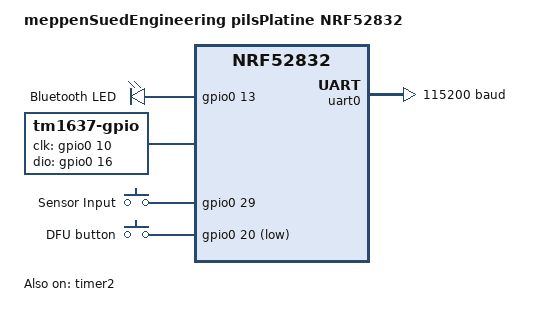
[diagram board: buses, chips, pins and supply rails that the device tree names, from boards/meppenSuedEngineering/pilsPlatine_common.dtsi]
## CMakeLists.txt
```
# SPDX-License-Identifier: Apache-2.0

cmake_minimum_required(VERSION 3.20.0)
set(BOARD_ROOT ${CMAKE_HOME_DIRECTORY})

find_package(Zephyr REQUIRED HINTS $ENV{ZEPHYR_BASE})
project(camel)

target_include_directories(app PRIVATE include)
target_sources(app PRIVATE src/main.c src/tm1637.c src/fsm_core.c src/runtime.c src/state_machine.c src/bluetooth.c src/memory.c src/inputs.c src/bluetooth_advertising.c)
```

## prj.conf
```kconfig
CONFIG_SIZE_OPTIMIZATIONS=y
CONFIG_GPIO=y
CONFIG_BOOTLOADER_MCUBOOT=y
CONFIG_MCUBOOT_BOOTLOADER_MODE_SWAP_SCRATCH=y

# Print a banner on the UART on startup.
#CONFIG_BOOT_BANNER=y

# Enable console and printk()
CONFIG_PRINTK=y
CONFIG_STDOUT_CONSOLE=y
CONFIG_SERIAL=y
CONFIG_UART_CONSOLE=y
CONFIG_CONSOLE=y
#CONFIG_MCUBOOT_GENERATE_UNSIGNED_IMAGE=y
CONFIG_MAIN_THREAD_PRIORITY=15
CONFIG_MAIN_STACK_SIZE=2048

CONFIG_NRFX_GPPI=y

#Enable timer
CONFIG_NRFX_GPIOTE_NUM_OF_EVT_HANDLERS=2
CONFIG_NRFX_TIMER=y

CONFIG_BT=y
CONFIG_BT_HCI=y
CONFIG_BT_PERIPHERAL=y
CONFIG_BT_ATT_PREPARE_COUNT=2
CONFIG_BT_DEVICE_NAME="BIERORGLER"
CONFIG_BT_DEVICE_APPEARANCE=833
CONFIG_BT_DEVICE_NAME_DYNAMIC=y
CONFIG_BT_DEVICE_NAME_MAX=65
CONFIG_BT_BUF_ACL_RX_SIZE=251
CONFIG_BT_BUF_ACL_TX_SIZE=502
CONFIG_BT_SMP=n
CONFIG_SOC_FLASH_NRF_RADIO_SYNC_NONE=n

# L2CAP SDU/PDU TX MTU
CONFIG_BT_L2CAP_TX_MTU=247

CONFIG_BT_SETTINGS=y
CONFIG_FLASH=y
CONFIG_FLASH_MAP=y
CONFIG_NVS=y
CONFIG_SETTINGS=y
CONFIG_LOG=y
CONFIG_MPU_ALLOW_FLASH_WRITE=y
CONFIG_NVS=y
CONFIG_NVS_LOG_LEVEL_DBG=y
CONFIG_BT_PRIVACY=n

CONFIG_THREAD_MONITOR=n

# FOTA RELATED
CONFIG_ZCBOR=y
CONFIG_IMG_MANAGER=y
CONFIG_STREAM_FLASH=y

CONFIG_MCUMGR=y
CONFIG_MCUMGR_GRP_IMG=y
CONFIG_MCUMGR_GRP_OS=y
CONFIG_MCUMGR_TRANSPORT_BT=y
CONFIG_MCUMGR_TRANSPORT_BT_CONN_PARAM_CONTROL=y

CONFIG_MCUMGR_TRANSPORT_BT_REASSEMBLY=y
CONFIG_MCUMGR_TRANSPORT_NETBUF_SIZE=384
CONFIG_MCUMGR_GRP_OS_MCUMGR_PARAMS=y
CONFIG_MCUMGR_TRANSPORT_WORKQUEUE_STACK_SIZE=4608
CONFIG_MCUMGR_TRANSPORT_BT_PERM_RW=y

# Enable logging
CONFIG_MCUBOOT_UTIL_LOG_LEVEL_WRN=y
CONFIG_MCUMGR_LOG_LEVEL_DBG=y
CONFIG_MCUMGR_GRP_IMG_LOG_LEVEL_DBG=y
CONFIG_MCUMGR_GRP_IMG_VERBOSE_ERR=y
CONFIG_IMG_MANAGER_LOG_LEVEL_DBG=y

#Device Information
CONFIG_BT_DIS=y
CONFIG_BT_DIS_PNP=n
CONFIG_BT_DIS_MANUF_NAME=y
CONFIG_BT_DIS_HW_REV=y
CONFIG_BT_DIS_SW_REV=y
CONFIG_BT_DIS_MODEL_NUMBER_STR="BIERORGLER"
CONFIG_BT_DIS_MANUF_NAME_STR="MeppenSuedEngineering"
CONFIG_BT_DIS_HW_REV_STR="1.0"
CONFIG_BT_DIS_SW_REV_STR="1.0.9"
CONFIG_BT_SETTINGS_CCC_STORE_ON_WRITE=n
CONFIG_SYSTEM_WORKQUEUE_STACK_SIZE=4096
CONFIG_MAIN_STACK_SIZE=4096
CONFIG_MCUBOOT_GENERATE_UNSIGNED_IMAGE=y
```

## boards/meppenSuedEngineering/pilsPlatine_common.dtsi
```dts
/* pilsplatine_common.dtsi */
#include <nordic/nrf52832_qfaa.dtsi>
#include "pilsPlatine_nrf52832-pinctrl.dtsi"
#include <zephyr/dt-bindings/input/input-event-codes.h>

/ {
    model = "meppenSuedEngineering pilsPlatine NRF52832";
    compatible = "meppenSuedEngineering,pilsPlatine-nrf52832";

    chosen {
        zephyr,console = &uart0;
        zephyr,sram = &sram0;
        zephyr,flash = &flash0;
        zephyr,code-partition = &slot0_partition;
        zephyr,settings-partition = &storage_partition_ble;
    };

    leds {
        compatible = "gpio-leds";
        led0: led_0 {
            gpios = <&gpio0 13 GPIO_ACTIVE_HIGH>;
            label = "Bluetooth LED";
        };
    };

    tm1637: tm1637 {
        compatible = "tm1637-gpio";
        clk-gpios = <&gpio0 10 GPIO_ACTIVE_HIGH>;
        dio-gpios = <&gpio0 16 GPIO_ACTIVE_HIGH>;
    };

    /* Common buttons present on ALL variants */
    buttons {
        compatible = "gpio-keys";
        debounce-interval-ms = <1>;
        
        sensor_btn: button_sensor {
            gpios = <&gpio0 29 (GPIO_ACTIVE_HIGH)>;
            label = "Sensor Input";
        };
        
        dfu_btn: button_dfu {
            label = "DFU button";
            gpios = <&gpio0 20 (GPIO_ACTIVE_LOW | GPIO_PULL_UP)>;
        };
    };

    aliases {
        led0 = &led0;
        buttontest = &sensor_btn;
        mcuboot-button0 = &dfu_btn;
        hw-timer = &timer2;
    };
};

/* Hardware Configs */
&uicr { gpio-as-nreset; nfct-pins-as-gpios; };
&gpiote { status = "okay"; };
&gpio0 { status = "okay"; };

&timer2 {
    status = "okay";
    max-bit-width = <32>;
    prescaler = <7>;
    counter { status = "okay"; };
};

&uart0 {
    status = "okay";
    compatible = "nordic,nrf-uarte";
    current-speed = <115200>;
    pinctrl-0 = <&uart0_default>;
    pinctrl-1 = <&uart0_sleep>;
    pinctrl-names = "default", "sleep";
};

&flash0 {
    partitions {
        compatible = "fixed-partitions";
        #address-cells = <1>;
        #size-cells = <1>;

        boot_partition: partition@0 { label = "mcuboot"; reg = <0x00000000 0xc000>; };
        slot0_partition: partition@c000 { label = "image-0"; reg = <0x0000C000 0x32000>; };
        slot1_partition: partition@3e000 { label = "image-1"; reg = <0x0003E000 0x32000>; };
        scratch_partition: partition@70000 { label = "image-scratch"; reg = <0x00070000 0xa000>; };
        
        storage_partition_ble: partition@7a000 {
            label = "storage_ble";
            reg = <0x0007a000 0x00003000>;
        };
        storage_partition_app: partition@7d000 {
            label = "storage_app";
            reg = <0x0007d000 0x00003000>;
        };
    };
};
```

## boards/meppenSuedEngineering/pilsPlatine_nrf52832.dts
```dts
/* pilsplatine_nrf52832.dts */
/dts-v1/;
#include "pilsplatine_common.dtsi"

/ {
    /* Add the extra buttons to the existing container */
    buttons {
        pairing_btn: button_pairing {
            gpios = <&gpio0 14 (GPIO_PULL_UP | GPIO_ACTIVE_LOW)>;
            label = "Bluetooth Pairing Button";
        };
        ready_btn: button_ready {
            gpios = <&gpio0 15 (GPIO_ACTIVE_LOW)>;
            label = "Ready Status Button";
        };
    };

    aliases {
        buttonpairing = &pairing_btn;
        buttonrdy = &ready_btn;
    };
};
```

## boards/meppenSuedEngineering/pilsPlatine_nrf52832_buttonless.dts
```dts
/* pilsplatine_nrf52832_buttonless.dts */
/dts-v1/;
#include "pilsplatine_common.dtsi"


/ {
    /* override / delete buttons here */
};
```

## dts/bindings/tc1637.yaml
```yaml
description: GPIO pins to use with a TC1637 7-seg display driver

compatible: "tm1637-gpio"

properties:
  clk-gpios:
    type: phandle-array
    required: true
    description: |
      The GPIO connected to the CLK Pin of the TC1637 driver

  dio-gpios:
    type: phandle-array
    required: true
    description: |
      The GPIO connected to the DIO Pin of the TC1637 driver 
```

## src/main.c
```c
/*
 * Copyright (c) 2016 Open-RnD Sp. z o.o.
 * Copyright (c) 2020 Nordic Semiconductor ASA
 *
 * SPDX-License-Identifier: Apache-2.0
 *
 * NOTE: If you are looking into an implementation of button events with
 * debouncing, check out `input` subsystem and `samples/subsys/input/input_dump`
 * example instead.
 */

#include <zephyr/kernel.h>
#include <zephyr/device.h>
#include <zephyr/drivers/gpio.h>
#include <zephyr/sys/util.h>
#include <zephyr/sys/printk.h>
#include <zephyr/debug/object_tracing.h>
#include <inttypes.h>
#include "state_machine.h"
#include "tm1637.h"
#include "runtime.h"
#include "devicetree_devices.h"
#include "fsm_core.h"
#include "bluetooth.h"
#include "memory.h"

// void print_thread_priorities(void)
// {
//     struct k_thread *thread_list = NULL;
//     struct k_thread *thread;
    
//     /* Get the list of all threads */
//     thread_list = SYS_THREAD_MONITOR_HEAD;
    
//     printk("Active Threads and Priorities:\n");
//     printk("------------------------------\n");
    
//     while ((thread = thread_list) != NULL) {
//         printk("Thread %p, name: %s, priority: %d\n",
//                thread,
//                k_thread_name_get(thread),
//                k_thread_priority_get(thread));
               
//         thread_list = SYS_THREAD_MONITOR_NEXT(thread_list);
//     }
//     printk("------------------------------\n");
// }

int main(void)
{
	init_seven_seg();
	init_gpio_inputs();
	init_gpio_outputs();
    init_memory_nv();
	init_ble(TIMER_TICK_DURATION_US);
    /*register callbacks and handlers*/
    ble_register_state_input_handler(ble_remote_state_dispatch);
	calib_attempt_register_notifier(ble_calibration_attempt_notifier);
    state_machine_register_notifier(ble_state_notifier);

	bluetooth_advertising_fsm_start();
	fsm_start();
    on_trichter_startup();

	while (1) {
    k_sleep(K_FOREVER);
	}
	return 0;
}
```

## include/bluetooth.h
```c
#ifndef TRICHTER_BLUETOOTH_H
#define TRICHTER_BLUETOOTH_H
#include <stdbool.h>
#include <stdint.h>
#include "state_machine.h"


int init_ble(uint8_t timer_tick_duration);

int ble_send_start();
bool is_ble_connected();
int ble_send_chunk();
int ble_prepare_send(uint32_t *data_buffer, const uint32_t num_elements);
bool ble_is_sending();
void delete_all_connections();

typedef enum RemoteState {
    REMOTE_STATE_CMD_IDLE,
    REMOTE_STATE_CMD_READY,
    REMOTE_STATE_CMD_CALIB,
    REMOTE_STATE_CMD_MAX
} RemoteState;

typedef void (*RemoteStateInputHandler)(RemoteState);
void ble_register_state_input_handler(RemoteStateInputHandler handler);
void ble_state_notifier(StateID_t state);
void ble_calibration_attempt_notifier(bool success);

#endif //TRICHTER_BLUETOOTH_H
```

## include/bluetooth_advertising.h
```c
#ifndef BLUETOOTH_ADVERTISING_H
#define BLUETOOTH_ADVERTISING_H

#include <stdint.h>
#include "state_machine.h"

typedef enum {
    BLE_ADV_OFF = 0,
    BLE_ADV_FAST,
    BLE_ADV_SLOW,
    BLE_ADV_STATE_MAX
} ble_adv_state_t;

/*PUBLIC API*/

void bluetooth_advertising_fsm_start(void);

void bluetooth_advertising_start_fast(void);
void bluetooth_advertising_start_slow(void);
void bluetooth_advertising_stop(void);

bool bluetooth_advertising_is_active(void);

#endif /* BLUETOOTH_ADVERTISING_H */
```

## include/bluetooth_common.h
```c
#ifndef BLUETOOTH_COMMON_H
#define BLUETOOTH_COMMON_H

#include <zephyr/bluetooth/uuid.h>

#define BT_UUID_CUSTOM_SERVICE_VAL BT_UUID_128_ENCODE(0xaf56d6dd, 0x3c39, 0x4d67, 0x9bbe, 0x4fb04fa327cc)

#define BT_UUID_ARRAY_CHARACTERISTIC_VAL BT_UUID_128_ENCODE( 0xf9d76937, 0xbd70, 0x4e4f, 0xa4da, 0x0b718d5f5b6d)

#define BT_UUID_CALIB_CHAR_VAL BT_UUID_128_ENCODE(0x23de2cad, 0x0fc8, 0x49f4, 0xbbcc, 0x5eb2c9fdb91b)

#define BT_UUID_REMOTE_STATE_CHAR_VAL BT_UUID_128_ENCODE(0x9b6d1c3a, 0x91a2, 0x4f23, 0x8c11, 0x1a2b3c4d5e6f)


#endif /* BLUETOOTH_COMMON_H */
```

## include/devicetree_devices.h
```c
#ifndef ZEPHYR_DEVICETREE_DEVICES_H_
#define ZEPHYR_DEVICETREE_DEVICES_H_

#include <zephyr/device.h>
#include <zephyr/drivers/gpio.h>
#include <nrfx_gpiote.h>
#include <helpers/nrfx_gppi.h>
#include <hal/nrf_gpiote.h>

#define BUTTON_READY	    DT_ALIAS(buttonrdy)
#define BUTTON_PAIRING      DT_ALIAS(buttonpairing)
#define BUTTON_TEST_SENSOR  DT_ALIAS(buttontest)

#ifndef CONFIG_BUTTONLESS
    #if !DT_NODE_HAS_STATUS_OKAY(BUTTON_READY)
    #error "Unsupported board: buttonRdy devicetree alias is not defined"
    #endif
    #if !DT_NODE_HAS_STATUS_OKAY(BUTTON_PAIRING)
    #error "Unsupported board: buttonPair devicetree alias is not defined"
    #endif
#endif
#if !DT_NODE_HAS_STATUS_OKAY(BUTTON_TEST_SENSOR)
#error "Unsupported board: buttonTest devicetree alias is not defined"
#endif

#define GPIOTE_INST	NRF_DT_GPIOTE_INST(BUTTON_TEST_SENSOR, gpios)
#define GPIOTE_NODE	DT_NODELABEL(_CONCAT(gpiote, GPIOTE_INST))

#ifndef CONFIG_BUTTONLESS
static const struct gpio_dt_spec button_ready = GPIO_DT_SPEC_GET_OR(BUTTON_READY, gpios, {0});
static const struct gpio_dt_spec button_pairing = GPIO_DT_SPEC_GET_OR(BUTTON_PAIRING, gpios, {0});
#endif
static const struct gpio_dt_spec button_test_sensor = GPIO_DT_SPEC_GET_OR(BUTTON_TEST_SENSOR, gpios, {0});

static struct gpio_callback button_cb_data_1;
static struct gpio_callback button_cb_data_2;

/*
 * The led0 devicetree alias is optional. If present, we'll use it
 * to turn on the LED whenever the button is pressed.
 */
static struct gpio_dt_spec led = GPIO_DT_SPEC_GET_OR(DT_ALIAS(led0), gpios, {0});

static const struct device *hw_timer_1 = DEVICE_DT_GET(DT_ALIAS(hw_timer));
static bool g_timer_initialized = false;



#endif //ZEPHYR_DEVICETREE_DEVICES_H_ 
```

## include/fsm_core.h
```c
#ifndef FSM_CORE_H
#define FSM_CORE_H 

#include <stdint.h>
#include "state_machine.h"

extern StateMachine_t g_stateMachine;

#define FSM_PERIOD_FAST_MS                      9
#define FSM_PERIOD_SLOW_MS                      300

void fsm_init();
void fsm_start();
void fsm_main(void *p1, void *p2, void *p3);
uint8_t fsm_transition(StateID_t targetState);
uint8_t fsm_transition_deferred(StateID_t state);

uint8_t ble_fsm_transition(StateMachine_t *sm, StateID_t state);
uint8_t ble_fsm_transition_deferred(StateMachine_t *sm, StateID_t state);
#endif //FSM_CORE_H
```

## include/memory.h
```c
#ifndef APPL_MEMORY_H
#define APPL_MEMORY_H

#include <stdint.h>
#include <zephyr/fs/nvs.h>

/*MEMORY ID DEFINITIONS*/
#define CALIBRATION_VALUE_ID    1


/*MEMORY GLOBAL RAM DATA DEFINITIONS*/
extern uint32_t global_calibration_value;
void save_counter_ram_to_rom();
int init_memory_nv();
int initialize_and_mount_fs(struct nvs_fs *filesys, const struct device *device, const off_t offset, const uint16_t partition_size);
int read_counter_from_rom(uint16_t *counter_value);

#endif //APPL_MEMORY_H
```

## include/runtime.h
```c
#ifndef ZEPHYR_RUNTIME_H_
#define ZEPHYR_RUNTIME_H_

#include <zephyr/kernel.h>
#include <zephyr/drivers/gpio.h>
#include <stdint.h>
#include "bluetooth.h"

#define TIMER_FREQUENCY_HZ				125000
#define TIMER_TICK_DURATION_US			8
#define MEARUEMENT_END_TIMEOUT_MS		1000 //TODO Adapt to real values with: max_drinking_time / (TICKS_PER_LTR/2) = max_time_between ticks
#define TIMER_TIMEOUT_TIMESTAMP_DIFF	TIMER_FREQUENCY_HZ / 1000 * MEARUEMENT_END_TIMEOUT_MS

void init_seven_seg();

void endless_loop();

void init_gpio_outputs();

uint8_t init_gpio_inputs();

void input_request_state_ready();
void input_request_pairing_mode();
void input_request_state_calibrating();
void ble_remote_state_dispatch(RemoteState state);

void sensor_triggered_isr(const struct device *dev, struct gpio_callback *cb, unsigned int pins);
void ble_delete_active_connection();

int get_timer_tick_duration();
void on_trichter_startup();

typedef void (*CalibrationAttempt)(bool);
void calib_attempt_register_notifier(CalibrationAttempt notifier);


#endif //ZEPHYR_RUNTIME_H_
```

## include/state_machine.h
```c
#ifndef STATEMACHINE_H
#define STATEMACHINE_H

#include <stdint.h>
#include <zephyr/kernel.h>

#define MAX_TRANSITIONS 5

#define ERR_NONE                    0
#define ERR_API                     1
#define ERR_INVALID_PARAM           5
#define ERR_TRANSITION_FORBIDDEN    10
#define ERR_NO_IMPL                 69


typedef enum {
    STATE_IDLE,
    STATE_READY,
    STATE_RUNNING,
    STATE_SENDING,
    STATE_CALIBRATING,
    STATE_ERROR,
    STATE_MAX
} StateID_t;

#define NUM_STATES STATE_MAX

typedef uint8_t (*StateFunc_t)(void);

typedef struct {
    StateID_t id;
    StateFunc_t onEntry;
    StateFunc_t runLoop;
    StateFunc_t onExit;
    StateID_t allowedTransitions[MAX_TRANSITIONS];
} State_t;


uint8_t IdleEntry(void);
uint8_t IdleRun(void);
uint8_t IdleExit(void);

uint8_t ReadyEntry(void);
uint8_t ReadyRun(void);
uint8_t ReadyExit(void);

uint8_t RunningEntry(void);
uint8_t RunningRun(void);
uint8_t RunningExit(void);

uint8_t SendingEntry(void);
uint8_t SendingRun(void);
uint8_t SendingExit(void);

uint8_t CalibEntry(void);
uint8_t CalibRun(void);
uint8_t CalibExit(void);

uint8_t ErrorEntry(void);
uint8_t ErrorRun(void);
uint8_t ErrorExit(void);


extern const State_t STATES[NUM_STATES + 1];


typedef struct {
    const char *name;
    const State_t *current;
    const State_t *states;
    uint8_t num_states;
    StateID_t requestStateDeferred;
    int error;
    struct k_mutex lock;
    uint16_t period_ms;
    bool notify;
} StateMachine_t;


uint8_t state_machine_transition(StateMachine_t *stateMachine, StateID_t targetState);

typedef void (*StateNotifier)(StateID_t);
void state_machine_register_notifier(StateNotifier notifier);

#endif //STATEMACHINE_H
```

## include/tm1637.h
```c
/* SPDX-License-Identifier: Apache-2.0 */
#ifndef ZEPHYR_DRIVERS_DISPLAY_TM1637_H_
#define ZEPHYR_DRIVERS_DISPLAY_TM1637_H_

#include <zephyr/device.h>
#include <zephyr/drivers/gpio.h>
#include <zephyr/kernel.h>

/* Return codes */
#define TM1637_OK       0
#define TM1637_ERROR    1

/* Commands (optional if you need direct access) */
#define TM1637_CMD_AUTO_ADDR_INCR  0x40
#define TM1637_CMD_SET_START_ADDR  0xC0
#define TM1637_CMD_SET_BRIGHT      0x88
#define TM1637_CMD_DISPLAY_OFF     0x80

#define TM1637_BYTE_EMPTY_SEG      0x00

#define TM1637_BRIGHTNESS_HIGH     0x07
#define TM1637_BRIGHTNESS_MID      0x05
#define TM1637_BRIGHTNESS_LOW      0x01

/**
 * @brief Initialize the TM1637 GPIO pins
 *
 * Configures CLK and DIO pins defined in devicetree.
 *
 * @return TM1637_OK if successful, TM1637_ERROR otherwise
 */
int tm1637_init(void);


void tm1637_display_digits(uint8_t digits[], uint8_t num_digits, uint8_t brightness, uint8_t dot_at);

void tm1637_display_ready(uint8_t brightness);

void tm1637_display_error_message(uint8_t brightness);

void tm1637_display_off();

void tm1637_display_bier(uint8_t brightness);

void tm1637_display_cal(uint8_t brightness);

void clk_high(void);
void clk_low(void);


#endif /* ZEPHYR_DRIVERS_DISPLAY_TM1637_H_ */
```

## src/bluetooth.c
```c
#include <stdint.h>
#include <zephyr/kernel.h>
#include <zephyr/kernel_structs.h>
#include <zephyr/sys/printk.h>
#include <zephyr/bluetooth/bluetooth.h>
#include <zephyr/bluetooth/conn.h>
#include <zephyr/bluetooth/gatt.h>
#include <zephyr/bluetooth/uuid.h>
#include <zephyr/drivers/flash.h>
#include <zephyr/storage/flash_map.h>
#include <zephyr/settings/settings.h>
#include "bluetooth.h"
#include "state_machine.h"
#include "memory.h"
#include "bluetooth_common.h"
#include "bluetooth_advertising.h"

#define MAX_TIMESTAMPS          300
#define CHUNK_SIZE              10
#define MAX_INDICATION_RETRIES  3
#define INDICATION_TIMEOUT_MS   5000
#define MAX_SDU_SIZE_BYTE       243 //247 MTU - 4 byte header
#define COUNT_BYTES(num)        (num * sizeof(uint32_t))

static bool g_is_connected = false;

static uint8_t g_timer_tick_duration = 0;

static uint8_t indication_retry_count = 0;
static struct bt_gatt_indicate_params last_ind_params;

K_SEM_DEFINE(indication_sem, 0, 1);

// Work Queue Stuff
K_THREAD_STACK_DEFINE(retry_work_stack, 512);
struct k_work_q retry_work;
struct k_work work; // For retry

enum transmission_flags {
    TX_FLAG_START = 0xAA,
    TX_FLAG_DATA = 0xBB,
    TX_FLAG_END = 0xCC
};

static struct nvs_fs fs_ble;

#define NVS_PARTITION_BLE           storage_partition_ble
#define NVS_PARTITION_DEVICE_BLE    FIXED_PARTITION_DEVICE(NVS_PARTITION_BLE)
#define NVS_PARTITION_OFFSET_BLE    FIXED_PARTITION_OFFSET(NVS_PARTITION_BLE)
#define NVS_PARTITION_SIZE_BLE      FIXED_PARTITION_SIZE(NVS_PARTITION_BLE)

//Header
#pragma pack(push, 1)
struct  ble_packet_header {
    uint8_t flag;           // Packet type flag
    uint16_t chunk_index;   // Current chunk number
    uint8_t data_size_bytes;     // Size of one chunk in byte (= Number of timestamps * 4)
};

//Data Package buffer
struct ble_transmission_packet {
    struct ble_packet_header header;
    uint32_t *data_buff;        // Pointing to a location within bulk_data_service.timestamps
};
#pragma pack(pop)

//Datastructure for Characteristic holding the data
struct bulk_data_service {
    uint8_t timestamp_bytes[COUNT_BYTES(MAX_TIMESTAMPS)];
    uint16_t count;        // Number of valid timestamps
    uint16_t idx_to_send;   // Index of next timestamp to send
    bool transmission_active;
    struct bt_conn *current_conn;
    uint16_t sdu_size;
};

//Actual Characteristic holding the data
static struct bulk_data_service g_bulk_service = {
    .count = 0,
    .idx_to_send = 0,
    .transmission_active = false,
    .current_conn = NULL,
    .sdu_size = 16 //23 = default MTU, minus header size (4byte) yields 19byte --> 16 is next one div by 4
};

static struct bt_gatt_indicate_params ind_params;
static uint8_t tx_buffer[sizeof(struct ble_packet_header) + MAX_SDU_SIZE_BYTE];

static StateID_t g_remote_state;
bool g_is_valid_calibration_attempt = false;

static struct bt_uuid_128 custom_service_uuid = BT_UUID_INIT_128(BT_UUID_CUSTOM_SERVICE_VAL);
static struct bt_uuid_128 drinking_char_uuid = BT_UUID_INIT_128(BT_UUID_ARRAY_CHARACTERISTIC_VAL);
static struct bt_uuid_128 time_constant_char_uuid = BT_UUID_INIT_128(BT_UUID_CALIB_CHAR_VAL);
static struct bt_uuid_128 remote_state_char_uuid = BT_UUID_INIT_128(BT_UUID_REMOTE_STATE_CHAR_VAL);

static RemoteStateInputHandler g_remote_input_handler = NULL;

void ble_state_notifier(StateID_t state);

static void ccc_cfg_changed(const struct bt_gatt_attr *attr, uint16_t value)
{
    bool indicate_enabled = (value == BT_GATT_CCC_INDICATE);
    bool notify_enabled = (value == BT_GATT_CCC_NOTIFY);
    
    printk("CCC Change: Value 0x%04x (Indicate: %d, Notify: %d)\n", value, indicate_enabled, notify_enabled);

    if (!indicate_enabled && !notify_enabled) {
        if (g_bulk_service.transmission_active) {
            printk("CCC disabled: Stopping transmission and releasing semaphore.\n");
            g_bulk_service.transmission_active = false;
            k_sem_give(&indication_sem); 
        }
    }
}

// GATT callbacks
void ble_register_state_input_handler(RemoteStateInputHandler handler)
{
    if (handler != NULL) {
        g_remote_input_handler = handler;
    }
}

static ssize_t write_remote_state(struct bt_conn *conn,
                                  const struct bt_gatt_attr *attr,
                                  const void *buf, uint16_t len,
                                  uint16_t offset, uint8_t flags)
{
    if (len != sizeof(uint8_t)) {
        return BT_GATT_ERR(BT_ATT_ERR_INVALID_ATTRIBUTE_LEN);
    }
    
    RemoteState state = (RemoteState)(*((const uint8_t *)buf));
    if (g_remote_input_handler) {
        g_remote_input_handler(state);
    }

    return len;
}

static ssize_t read_remote_state(struct bt_conn *conn,
                                 const struct bt_gatt_attr *attr,
                                 void *buf, uint16_t len, uint16_t offset)
{
    return bt_gatt_attr_read(conn, attr, buf, len, offset,
                             &g_remote_state, sizeof(g_remote_state));
}

static void indication_retry_handler(struct k_work *work)
{
    printk("Retrying :(\n");
    if (!g_is_connected || !g_bulk_service.current_conn) {
        printk("Retry aborted: Disconnected\n");
        return;
    }
    int err = bt_gatt_indicate(g_bulk_service.current_conn, &last_ind_params);
    if (err) {
        printk("Retry failed to start: %d\n", err);
    }
}

static ssize_t read_custom(struct bt_conn *conn,
                           const struct bt_gatt_attr *attr,
                           void *buf, uint16_t len, uint16_t offset)
{
    const char *value = attr->user_data;
    return bt_gatt_attr_read(conn, attr, buf, len, offset, value, strlen(value));
}

void mtu_updated(struct bt_conn *conn, uint16_t tx, uint16_t rx)
{
    printk("Updated MTU: TX: %d RX: %d bytes\n", tx, rx);
    g_bulk_service.sdu_size = MIN(tx, rx) - sizeof(struct ble_packet_header) - 3;
}

static struct bt_gatt_cb gatt_callbacks = {
    .att_mtu_updated = mtu_updated
};

static ssize_t read_time_constant(struct bt_conn *conn,
                                const struct bt_gatt_attr *attr,
                                void *buf, uint16_t len, uint16_t offset)
{
    return bt_gatt_attr_read(conn, attr, buf, len, offset,
                             &g_timer_tick_duration, sizeof(g_timer_tick_duration));
}

/* Define custom service */
BT_GATT_SERVICE_DEFINE(custom_svc,
    BT_GATT_PRIMARY_SERVICE(&custom_service_uuid),                                /*Index 0*/
    
    /* Drinking Speed Characteristic */
    BT_GATT_CHARACTERISTIC(&drinking_char_uuid.uuid,                              /*Index 1-2 (2 is the value)*/
                           BT_GATT_CHRC_INDICATE,
                           BT_GATT_PERM_NONE ,
                           NULL, NULL, NULL),
                           
    // FIX: Hier ccc_cfg_changed registrieren!
    BT_GATT_CCC(ccc_cfg_changed, BT_GATT_PERM_READ | BT_GATT_PERM_WRITE),         /*Index 3*/

    /* Time Calibration characteristic */
    BT_GATT_CHARACTERISTIC(&time_constant_char_uuid.uuid,                         /*Index 4-5 (5 is the value)*/
                           BT_GATT_CHRC_READ | BT_GATT_CHRC_NOTIFY,
                           BT_GATT_PERM_READ,
                           read_time_constant, NULL, NULL),
                           
    BT_GATT_DESCRIPTOR(&drinking_char_uuid.uuid,                                  /*Index 6*/
                       BT_GATT_PERM_READ,
                       read_custom, NULL,
                       "Drinking Speed Service"),
                       
    // FIX: Hier optional auch ccc_cfg_changed
    BT_GATT_CCC(ccc_cfg_changed, BT_GATT_PERM_READ | BT_GATT_PERM_WRITE),         /*Index 7*/
    
    /* Remote State Characteristic*/
    BT_GATT_CHARACTERISTIC(&remote_state_char_uuid.uuid,                          /*Index 8-9 (9 is the value)*/
                           BT_GATT_CHRC_READ | BT_GATT_CHRC_WRITE | BT_GATT_CHRC_NOTIFY,
                           BT_GATT_PERM_READ | BT_GATT_PERM_WRITE,
                           read_remote_state, write_remote_state, &g_remote_state),
                           
    // FIX: Hier ccc_cfg_changed
    BT_GATT_CCC(ccc_cfg_changed, BT_GATT_PERM_READ | BT_GATT_PERM_WRITE)          /*Index 10*/
);


void ble_state_notifier(StateID_t state)
{
    g_remote_state = state;

    if (!g_is_connected || !g_bulk_service.current_conn) {
        return;
    }
    int combined_state = g_remote_state | (g_is_valid_calibration_attempt ? 0x80 : 0x0);
    bt_gatt_notify(g_bulk_service.current_conn,
                   &custom_svc.attrs[9],
                   &combined_state,
                   sizeof(combined_state));
}

void ble_calibration_attempt_notifier(bool success)
{
    g_is_valid_calibration_attempt = success;
}

// Connection callbacks
static void connected(struct bt_conn *conn, uint8_t err)
{
    if (err) {
        printk("Connection failed (err 0x%02x)\n", err);
        return;
    }
    
    printk("Connected\n");
    if (g_is_connected) {
        bt_conn_disconnect(conn, BT_HCI_ERR_CONN_LIMIT_EXCEEDED);
        return;
    }
    g_is_connected = true;
    g_bulk_service.current_conn = bt_conn_ref(conn);
    bluetooth_advertising_stop();
}

void ble_delete_active_connection()
{
    if (g_bulk_service.current_conn && g_is_connected) {
        bt_conn_disconnect(g_bulk_service.current_conn, BT_HCI_ERR_REMOTE_USER_TERM_CONN);
    }
}


static void disconnected(struct bt_conn *conn, uint8_t reason)
{
    printk("Disconnected (reason 0x%02x)\n", reason);
    g_is_connected = false;
    g_bulk_service.transmission_active = false;
    k_sem_give(&indication_sem);

    if (g_bulk_service.current_conn) {
        bt_conn_unref(g_bulk_service.current_conn);
        g_bulk_service.current_conn = NULL;
    }
}

static void recycled()
{
    printk("Recycled callback\n");
    bluetooth_advertising_start_fast();
}

BT_CONN_CB_DEFINE(conn_callbacks) = {
    .connected = connected,
    .disconnected = disconnected,
    .recycled = recycled
};


int init_ble(uint8_t timer_tick_duration)
{
    int err;
    k_work_queue_init(&retry_work);
    k_work_queue_start(&retry_work, retry_work_stack, K_THREAD_STACK_SIZEOF(retry_work_stack), 4, NULL);
    k_work_init(&work, indication_retry_handler);

    err = initialize_and_mount_fs(&fs_ble, NVS_PARTITION_DEVICE_BLE, NVS_PARTITION_OFFSET_BLE, NVS_PARTITION_SIZE_BLE);
    if (err)
    {
        return 0;
    }

    err = bt_enable(NULL);
    if (IS_ENABLED(CONFIG_SETTINGS)) {
        settings_load();
    }
    bt_gatt_cb_register(&gatt_callbacks);

    g_timer_tick_duration = timer_tick_duration;

    return err;
}

bool is_ble_connected()
{
    return g_is_connected;
};


// =========================================================================
//  SENDING LOGIC
// =========================================================================

static void indicate_cb(struct bt_conn *conn,
                        struct bt_gatt_indicate_params *params,
                        uint8_t err)
{
    if (err != 0U && indication_retry_count < MAX_INDICATION_RETRIES) {
        printk("Indication failed, retry %d/3\n", indication_retry_count + 1);
        indication_retry_count++;
        
        memcpy(&last_ind_params, params, sizeof(struct bt_gatt_indicate_params));
        k_work_submit_to_queue(&retry_work, &work);
    } else {
        if (err == 0U) {
            // printk("Indication success\n"); // Zu viel Spam
            indication_retry_count = 0;
            // Signal success to allow next packet
            k_sem_give(&indication_sem);
        } else {
            printk("Indication failed after %d retries\n", MAX_INDICATION_RETRIES);
            // Auch bei Fehler Semaphore geben, damit es nicht hängt!
            k_sem_give(&indication_sem);
        }
    }
}

int ble_send_start()
{
    if (g_bulk_service.transmission_active != 1)
    {
        return 1;
    }
    struct ble_packet_header header = {
        .flag = TX_FLAG_START,
        .chunk_index = 0,
        .data_size_bytes = g_bulk_service.sdu_size
    };

    int err;
    static uint16_t ram_copy_counter = 0;
    err = read_counter_from_rom(&ram_copy_counter);

    memcpy(tx_buffer, &header, sizeof(header));
    memcpy(tx_buffer + sizeof(header), &g_bulk_service.count, sizeof(g_bulk_service.count));
    memcpy(tx_buffer + sizeof(header) + sizeof(g_bulk_service.count), &ram_copy_counter, sizeof(ram_copy_counter));

    ind_params.attr = &custom_svc.attrs[2]; // Prüfen ob Index stimmt (Drinking Char)
    ind_params.func = indicate_cb;
    ind_params.data = tx_buffer;
    ind_params.len = sizeof(header) + sizeof(g_bulk_service.count) + sizeof(ram_copy_counter);

    k_sem_reset(&indication_sem);

    if (g_bulk_service.current_conn) {
        err = bt_gatt_indicate(g_bulk_service.current_conn, &ind_params);
        if (err) {
            printk("Failed to indicate in send start: %d\n", err);
        }
        return err;
    }
    return -ENOTCONN;
}

bool ble_is_sending()
{
    return g_bulk_service.transmission_active;
}


int ble_prepare_send(uint32_t *data_buffer, const uint32_t num_elements)
{
    if (data_buffer == NULL)
    {
        return 1;
    } else if (num_elements == 0 || num_elements > MAX_TIMESTAMPS)
    {
        return 1;
    };
    
    const uint8_t *bytes = (const uint8_t *)data_buffer;
    memcpy(g_bulk_service.timestamp_bytes, bytes, COUNT_BYTES(num_elements));
    
    /* Debug Print sparsamer machen oder entfernen
    printk("Sending Data:\n");
    for (int i = 0; i < COUNT_BYTES(num_elements); i++) {
        printk("%02X-", bytes[i]);
    }
    printk("\n");
    */

    g_bulk_service.count = num_elements;
    g_bulk_service.transmission_active = true;
    g_bulk_service.idx_to_send = 0;
    return 0;
}

int ble_send_chunk()
{
    // printk("Sending chunk\n"); // Kann Performance kosten

    // 1. Warten
    if (k_sem_take(&indication_sem, K_MSEC(INDICATION_TIMEOUT_MS)) != 0) {
        printk("Previous indication timeout\n");
        return -ETIMEDOUT;
    }
    
    // 2. FIX: Prüfen ob wir überhaupt noch verbunden sind (nach dem Warten)
    if (!g_is_connected || !g_bulk_service.current_conn) {
        printk("Aborting send: Disconnected\n");
        return -ENOTCONN;
    }

    // 3. FIX: Prüfen ob Übertragung noch aktiv (z.B. durch CCC deaktiviert)
    if (g_bulk_service.transmission_active != true) {
        printk("Aborting send: Stopped by User\n");
        return -ECANCELED;
    }

    int err;
    struct ble_packet_header header;
    const uint16_t next_byte_idx = g_bulk_service.idx_to_send;
    uint16_t tx_length = 0;

    if (next_byte_idx < COUNT_BYTES(g_bulk_service.count))
    {
        header.flag = TX_FLAG_DATA;
        header.chunk_index = next_byte_idx / g_bulk_service.sdu_size; 
        header.data_size_bytes = MIN(g_bulk_service.sdu_size, (COUNT_BYTES(g_bulk_service.count) - g_bulk_service.idx_to_send));
        
        // printk("sending index %d\n", header.chunk_index); 
        tx_length = sizeof(header) + header.data_size_bytes;

        if (header.data_size_bytes <= (sizeof(tx_buffer)/sizeof(tx_buffer[0])))
        {
            memcpy(tx_buffer, &header, sizeof(header));
            memcpy(tx_buffer + sizeof(header), &g_bulk_service.timestamp_bytes[next_byte_idx], header.data_size_bytes);
        }

    } else {
        header.flag = TX_FLAG_END;
        header.chunk_index = 0;
        header.data_size_bytes = 0;
        tx_length = sizeof(header);
        memcpy(tx_buffer, &header, sizeof(header));
        g_bulk_service.transmission_active = false; // Ende erreicht
    }
    
    ind_params.attr = &custom_svc.attrs[2];
    ind_params.func = indicate_cb;
    ind_params.data = tx_buffer;
    ind_params.len = tx_length;

    err = bt_gatt_indicate(g_bulk_service.current_conn, &ind_params);
    if (err)
    {
        printk("Failed to indicate in send_chunk: %d\n", err);
        // Semaphor wieder freigeben, da kein Callback kommen wird!
        k_sem_give(&indication_sem);
        return err;
    }
    g_bulk_service.idx_to_send += g_bulk_service.sdu_size;

    return err;
}
```

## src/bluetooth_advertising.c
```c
#include <zephyr/kernel.h>
#include <zephyr/bluetooth/bluetooth.h>
#include <zephyr/bluetooth/hci.h>
#include <zephyr/sys/printk.h>

#include "bluetooth_advertising.h"
#include "bluetooth_common.h"
#include "fsm_core.h"
#include "state_machine.h"


#define BLE_ADV_FAST_TIMEOUT_SEC    30

#define BT_SM_PERIOD_MS             500

#define BLE_ADV_SLOW_INT_MIN        1364  //852.5ms, as per apple developer guidelines
#define BLE_ADV_SLOW_INT_MAX        1365
#define BLE_FSM_THREAD_STACK_SIZE   1024
#define BLE_FSM_THREAD_PRIO         3


static K_THREAD_STACK_DEFINE(ble_fsm_stack, BLE_FSM_THREAD_STACK_SIZE);
static struct k_thread ble_fsm_thread_data;

static uint8_t g_ble_fsm_run = 1;

typedef enum
{
    BLE_STATE_IDLE = 0,
    BLE_STATE_ADV_FAST,
    BLE_STATE_ADV_SLOW,
    BLE_STATE_STOP,
    BLE_STATE_ERROR,
    BLE_STATE_MAX
} BleStateId_t;

#define NUM_STATES_BLE BLE_STATE_MAX

static StateMachine_t g_ble_sm;

static struct k_timer adv_fast_timer;

static bool g_adv_active = false;

/* Forward declare */
static uint8_t ble_state_idle(void);
static uint8_t ble_state_adv_fast(void);
static uint8_t ble_state_adv_slow(void);
static uint8_t ble_state_stop(void);
static uint8_t ble_state_error(void);
static uint8_t ble_state_no_impl(void);


static const State_t BLE_STATES[NUM_STATES_BLE] =
{
    [BLE_STATE_IDLE] =
    {
        .id = BLE_STATE_IDLE,
        .onEntry = ble_state_idle,
        .runLoop = ble_state_no_impl,
        .onExit  = ble_state_no_impl,
        .allowedTransitions = {BLE_STATE_ADV_FAST, BLE_STATE_ADV_SLOW, BLE_STATE_ERROR, BLE_STATE_MAX, BLE_STATE_MAX}
    },
    [BLE_STATE_ADV_FAST] =
    {
        .id = BLE_STATE_ADV_FAST,
        .onEntry = ble_state_adv_fast,
        .runLoop = ble_state_no_impl,
        .onExit  = ble_state_no_impl,
        .allowedTransitions = {BLE_STATE_STOP, BLE_STATE_ADV_SLOW, BLE_STATE_ERROR, BLE_STATE_MAX, BLE_STATE_MAX}
    },
    [BLE_STATE_ADV_SLOW] =
    {
        .id = BLE_STATE_ADV_SLOW,
        .onEntry = ble_state_adv_slow,
        .runLoop = ble_state_no_impl,
        .onExit  = ble_state_no_impl,
        .allowedTransitions = {BLE_STATE_STOP, BLE_STATE_ADV_FAST, BLE_STATE_ERROR, BLE_STATE_MAX, BLE_STATE_MAX}
    },
    [BLE_STATE_STOP] =
    {
        .id = BLE_STATE_STOP,
        .onEntry = ble_state_stop,
        .runLoop = ble_state_no_impl,
        .onExit  = ble_state_no_impl,
        .allowedTransitions = {BLE_STATE_IDLE, BLE_STATE_ERROR, BLE_STATE_MAX, BLE_STATE_MAX, BLE_STATE_MAX}
    },
    [BLE_STATE_ERROR] =
    {
        .id = BLE_STATE_ERROR,
        .onEntry = ble_state_error,
        .runLoop = ble_state_no_impl,
        .onExit  = ble_state_no_impl,
        .allowedTransitions = {BLE_STATE_IDLE, BLE_STATE_STOP, BLE_STATE_MAX, BLE_STATE_MAX, BLE_STATE_MAX}
    },
};


/* Advertising data */
struct bt_data ad[] = {
    BT_DATA_BYTES(BT_DATA_FLAGS, (BT_LE_AD_GENERAL | BT_LE_AD_NO_BREDR)),
    BT_DATA(BT_DATA_NAME_COMPLETE,
            CONFIG_BT_DEVICE_NAME,
            sizeof(CONFIG_BT_DEVICE_NAME) - 1) // sizeof ist sicherer als strlen bei Konstanten
};

struct bt_data sd[] = {
    BT_DATA_BYTES(BT_DATA_UUID128_ALL, BT_UUID_CUSTOM_SERVICE_VAL)
};

/* Advertising Params */
struct bt_le_adv_param *adv_fast_param =
    BT_LE_ADV_PARAM(BT_LE_ADV_OPT_CONN,
                     BT_GAP_ADV_FAST_INT_MIN_1,
                     BT_GAP_ADV_FAST_INT_MAX_1,
                     NULL);

struct bt_le_adv_param *adv_slow_param =
    BT_LE_ADV_PARAM(BT_LE_ADV_OPT_CONN,
                     BLE_ADV_SLOW_INT_MIN,
                     BLE_ADV_SLOW_INT_MAX,
                     NULL);


// Minimal FSM main for BLE
static void ble_fsm_main(void *p1, void *p2, void *p3)
{
    while (g_ble_fsm_run)
    {
        if (g_ble_sm.requestStateDeferred != BLE_STATE_MAX)
        {
            printk("Going to transition BLE\n");
            ble_fsm_transition(&g_ble_sm, g_ble_sm.requestStateDeferred);

            unsigned int key = irq_lock();
            g_ble_sm.requestStateDeferred = BLE_STATE_MAX;
            irq_unlock(key);
        }
        k_msleep(g_ble_sm.period_ms);
    }
}


static void adv_fast_timeout(struct k_timer *timer)
{
    ble_fsm_transition_deferred(&g_ble_sm, BLE_STATE_ADV_SLOW);
}


static uint8_t ble_adv_start(const struct bt_le_adv_param *param)
{
    int err;

    if (g_adv_active)
    {
        return ERR_NONE;
    }
    printk("Starting advertising\n");
    err = bt_le_adv_start(param, ad, ARRAY_SIZE(ad), sd, ARRAY_SIZE(sd));
    if (err)
    {
        printk("BLE adv start failed (%d)\n", err);
        return ERR_API;
    }

    g_adv_active = true;
    return ERR_NONE;
}


static void ble_adv_stop(void)
{
    printk("Stopping advertising\n");
    if (!g_adv_active)
    {
        return;
    }

    bt_le_adv_stop();
    g_adv_active = false;
}


static uint8_t ble_state_idle(void)
{
    return ERR_NONE;
}

static uint8_t ble_state_adv_fast(void)
{
    return ble_adv_start(adv_fast_param);
}

static uint8_t ble_state_adv_slow(void)
{
    return ble_adv_start(adv_slow_param);
}

static uint8_t ble_state_stop(void)
{
    ble_adv_stop();
    ble_fsm_transition_deferred(&g_ble_sm, BLE_STATE_IDLE);
    return ERR_NONE;
}

static uint8_t ble_state_error(void)
{
    ble_adv_stop();
    return ERR_NONE;
}

static uint8_t ble_state_no_impl()
{
    return ERR_NONE;
}


void bluetooth_advertising_fsm_start(void)
{
    k_mutex_init(&g_ble_sm.lock);

    g_ble_sm.current = &BLE_STATES[BLE_STATE_IDLE];
    g_ble_sm.error = ERR_NONE;
    g_ble_sm.period_ms = BT_SM_PERIOD_MS;
    g_ble_sm.requestStateDeferred = BLE_STATE_MAX;
    g_ble_sm.name = "BLE FSM";
    g_ble_sm.states = BLE_STATES;
    g_ble_sm.num_states = NUM_STATES_BLE;
    g_ble_sm.notify = false;

    k_timer_init(&adv_fast_timer, adv_fast_timeout, NULL);

    g_adv_active = false;
    k_thread_create(&ble_fsm_thread_data, ble_fsm_stack,
                K_THREAD_STACK_SIZEOF(ble_fsm_stack),
                ble_fsm_main,
                NULL, NULL, NULL,
                BLE_FSM_THREAD_PRIO,
                0,
                K_NO_WAIT);
}

void bluetooth_advertising_start_fast(void)
{
    printk("Requested fast adv\n");
    k_timer_start(&adv_fast_timer, K_SECONDS(BLE_ADV_FAST_TIMEOUT_SEC), K_NO_WAIT);
    ble_fsm_transition_deferred(&g_ble_sm, BLE_STATE_ADV_FAST);
}


void bluetooth_advertising_start_slow(void)
{
    printk("Requested slow adv\n");
    k_timer_stop(&adv_fast_timer);
    ble_fsm_transition_deferred(&g_ble_sm, BLE_STATE_ADV_SLOW);
}


void bluetooth_advertising_stop(void)
{
    k_timer_stop(&adv_fast_timer);
    ble_fsm_transition(&g_ble_sm, BLE_STATE_STOP);
}


bool bluetooth_advertising_is_active(void)
{
    return g_adv_active;
}
```

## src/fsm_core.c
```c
#include <stdint.h>
#include <zephyr/kernel.h>
#include "state_machine.h"
#include "fsm_core.h"


#define STATE_MACHINE_THREAD_PRIO			3
#define STATE_MACHINE_THREAD_STACK_SIZE 	1024

uint8_t g_fsm_run = 1;

StateMachine_t g_stateMachine;

K_THREAD_STACK_DEFINE(state_machine_stack, STATE_MACHINE_THREAD_STACK_SIZE);
static struct k_thread state_machine_thread_data;

extern uint8_t IdleEntry(void);
extern uint8_t IdleRun(void);
extern uint8_t IdleExit(void);

extern uint8_t ReadyEntry(void);
extern uint8_t ReadyRun(void);
extern uint8_t ReadyExit(void);

extern uint8_t RunningEntry(void);
extern uint8_t RunningRun(void);
extern uint8_t RunningExit(void);

extern uint8_t SendingEntry(void);
extern uint8_t SendingRun(void);
extern uint8_t SendingExit(void);

extern uint8_t ErrorEntry(void);
extern uint8_t ErrorRun(void);
extern uint8_t ErrorExit(void);

const State_t STATES[NUM_STATES + 1] = {
    [STATE_IDLE] = {
        .id = STATE_IDLE,
        .onEntry = IdleEntry,
        .runLoop = IdleRun,
        .onExit = IdleExit,
        .allowedTransitions = {STATE_RUNNING, STATE_ERROR, STATE_READY, STATE_MAX, STATE_MAX}
    },
    [STATE_READY] = {
        .id = STATE_READY,
        .onEntry = ReadyEntry,
        .runLoop = ReadyRun,
        .onExit = ReadyExit,
        .allowedTransitions = {STATE_RUNNING, STATE_IDLE, STATE_CALIBRATING, STATE_MAX, STATE_MAX}
    },
    [STATE_RUNNING] = {
        .id = STATE_RUNNING,
        .onEntry = RunningEntry,
        .runLoop = RunningRun,
        .onExit = RunningExit,
        .allowedTransitions = {STATE_SENDING, STATE_ERROR, STATE_MAX, STATE_MAX, STATE_MAX}
    },
    [STATE_SENDING] = {
        .id = STATE_SENDING,
        .onEntry = SendingEntry,
        .runLoop = SendingRun,
        .onExit = SendingExit,
        .allowedTransitions = {STATE_ERROR, STATE_READY, STATE_MAX, STATE_MAX, STATE_MAX}
    },
    [STATE_CALIBRATING] = {
        .id = STATE_CALIBRATING,
        .onEntry = CalibEntry,
        .runLoop = CalibRun,
        .onExit = CalibExit,
        .allowedTransitions = {STATE_READY, STATE_ERROR, STATE_MAX, STATE_MAX, STATE_MAX}
    },
    [STATE_ERROR] = {
        .id = STATE_ERROR,
        .onEntry = ErrorEntry,
        .runLoop = ErrorRun,
        .onExit = ErrorExit,
        .allowedTransitions = {STATE_ERROR, STATE_MAX, STATE_MAX, STATE_MAX, STATE_MAX}
    }
};


static uint8_t fsm_transition_internal(StateMachine_t *sm, StateID_t targetState)
{
    uint8_t ret = ERR_NONE;
    k_mutex_lock(&sm->lock, K_FOREVER);
    printk("%s: Requested transition from %d to %d\n", sm->name, sm->current->id, targetState);
    ret = state_machine_transition(sm, targetState);
    k_mutex_unlock(&sm->lock);

    if (ret != ERR_NONE && ret != ERR_TRANSITION_FORBIDDEN) //on invalid transitions, simply do not do anything
    {
        k_mutex_lock(&sm->lock, K_FOREVER);
        ret = state_machine_transition(sm, STATE_ERROR);
        sm->requestStateDeferred = STATE_MAX; //Clear any pending deferred requests
        k_mutex_unlock(&sm->lock);
    }
    return ret;
}

static uint8_t fsm_transition_deferred_internal(StateMachine_t *sm, StateID_t state)
{
    if (sm->current->id == STATE_ERROR)
    {
        return ERR_TRANSITION_FORBIDDEN;
    };
    sm->requestStateDeferred = state;
    return ERR_NONE;
}


void fsm_main(void *p1, void *p2, void *p3)
{
    uint8_t ret = ERR_NONE;
    while (g_fsm_run)
    {
        k_mutex_lock(&g_stateMachine.lock, K_FOREVER);
        ret = g_stateMachine.current->runLoop();
        k_mutex_unlock(&g_stateMachine.lock);

        if (ret != ERR_NONE)
        {
            fsm_transition(STATE_ERROR);
            g_fsm_run = 0;
        } else if (g_stateMachine.requestStateDeferred != STATE_MAX)
        {
            fsm_transition(g_stateMachine.requestStateDeferred);
            unsigned int key = irq_lock(); //Do not allow interrupts to request deferred
            g_stateMachine.requestStateDeferred = STATE_MAX;
            irq_unlock(key);
        }
        k_msleep(g_stateMachine.period_ms);
    }
}


void fsm_start()
{
    k_mutex_init(&g_stateMachine.lock);
    g_stateMachine.current = &STATES[STATE_IDLE];
    g_stateMachine.error = ERR_NONE;
    g_stateMachine.period_ms = FSM_PERIOD_FAST_MS;
    g_stateMachine.requestStateDeferred = STATE_MAX;
    g_stateMachine.name = "Main FSM";
    g_stateMachine.states = STATES;
    g_stateMachine.num_states = NUM_STATES;
    g_stateMachine.notify = true;

    k_thread_create(&state_machine_thread_data, state_machine_stack, K_THREAD_STACK_SIZEOF(state_machine_stack), fsm_main, NULL, NULL, NULL, STATE_MACHINE_THREAD_PRIO, 0, K_NO_WAIT);
}


uint8_t fsm_transition(StateID_t targetState)
{
    return fsm_transition_internal(&g_stateMachine, targetState);
}


uint8_t fsm_transition_deferred(StateID_t state)
{
    return fsm_transition_deferred_internal(&g_stateMachine, state);
}


uint8_t ble_fsm_transition(StateMachine_t *sm, StateID_t targetState)
{
    return fsm_transition_internal(sm, targetState);
}


uint8_t ble_fsm_transition_deferred(StateMachine_t *sm, StateID_t state)
{
    return fsm_transition_deferred_internal(sm, state);
}
```
